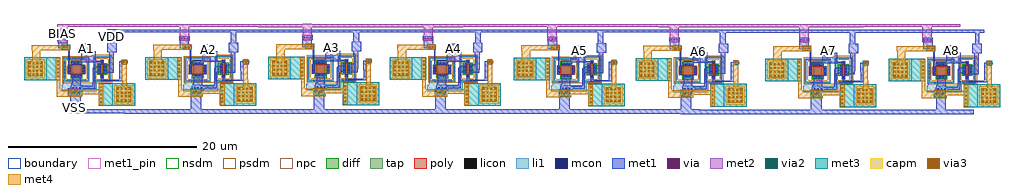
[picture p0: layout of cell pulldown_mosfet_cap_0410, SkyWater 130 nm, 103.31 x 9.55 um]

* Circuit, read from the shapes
.subckt pulldown_mosfet_cap_0410 A1 A2 A3 A4 A5 A6 A7 A8 BIAS VDD VSS
XM1 A1 BIAS VSS VSS sky130_fd_pr__nfet_01v8 w=1 l=1
XM2 VDD A1 VSS VSS sky130_fd_pr__nfet_01v8 w=1 l=0.25
XM3 A2 BIAS VSS VSS sky130_fd_pr__nfet_01v8 w=1 l=1
XM4 VDD A2 VSS VSS sky130_fd_pr__nfet_01v8 w=1 l=0.25
XM5 A3 BIAS VSS VSS sky130_fd_pr__nfet_01v8 w=1 l=1
XM6 VDD A3 VSS VSS sky130_fd_pr__nfet_01v8 w=1 l=0.25
XM7 A4 BIAS VSS VSS sky130_fd_pr__nfet_01v8 w=1 l=1
XM8 VDD A4 VSS VSS sky130_fd_pr__nfet_01v8 w=1 l=0.25
XM9 A5 BIAS VSS VSS sky130_fd_pr__nfet_01v8 w=1 l=1
XM10 VDD A5 VSS VSS sky130_fd_pr__nfet_01v8 w=1 l=0.25
XM11 A6 BIAS VSS VSS sky130_fd_pr__nfet_01v8 w=1 l=1
XM12 VDD A6 VSS VSS sky130_fd_pr__nfet_01v8 w=1 l=0.25
XM13 A7 BIAS VSS VSS sky130_fd_pr__nfet_01v8 w=1 l=1
XM14 VDD A7 VSS VSS sky130_fd_pr__nfet_01v8 w=1 l=0.25
XM15 A8 BIAS VSS VSS sky130_fd_pr__nfet_01v8 w=1 l=1
XM16 VDD A8 VSS VSS sky130_fd_pr__nfet_01v8 w=1 l=0.25
XC17 BIAS VSS sky130_fd_pr__cap_mim_m3_1 w=2 l=2 m=8
XC18 A1 VSS sky130_fd_pr__cap_mim_m3_1 w=2 l=2
XC19 A2 VSS sky130_fd_pr__cap_mim_m3_1 w=2 l=2
XC20 A3 VSS sky130_fd_pr__cap_mim_m3_1 w=2 l=2
XC21 A4 VSS sky130_fd_pr__cap_mim_m3_1 w=2 l=2
XC22 A5 VSS sky130_fd_pr__cap_mim_m3_1 w=2 l=2
XC23 A6 VSS sky130_fd_pr__cap_mim_m3_1 w=2 l=2
XC24 A7 VSS sky130_fd_pr__cap_mim_m3_1 w=2 l=2
XC25 A8 VSS sky130_fd_pr__cap_mim_m3_1 w=2 l=2
.ends

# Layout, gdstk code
from math import pi, radians
import gdstk
lib = gdstk.Library(unit=1e-6, precision=1e-09)
def R(c, l, rs):  # rectangles x0, y0, x1, y1
    for r in rs: c.add(gdstk.rectangle(r[:2], r[2:], *l))
def A(c, l, x, y, w, h, nx, ny, dx, dy):  # array of equal rectangles
    R(c, l, [(x+i*dx, y+j*dy, x+i*dx+w, y+j*dy+h) for i in range(nx) for j in range(ny)])
diff = (65, 20)
tap = (65, 44)
poly = (66, 20)
licon = (66, 44)
li1 = (67, 20)
mcon = (67, 44)
met1_pin = (68, 16)
met1 = (68, 20)
via = (68, 44)
met2 = (69, 20)
via2 = (69, 44)
met3 = (70, 20)
via3 = (70, 44)
met4 = (71, 20)
capm = (89, 44)
nsdm = (93, 44)
psdm = (94, 20)
npc = (95, 20)
boundary = (235, 4)

sky130_fd_pr__cap_mim_m3 = lib.new_cell('sky130_fd_pr__cap_mim_m3_1_A5W7HU')
R(sky130_fd_pr__cap_mim_m3, met3, [(-1.93,-1.2,1.93,1.2)])
A(sky130_fd_pr__cap_mim_m3, via3, 1.57, -0.9, 0.2, 0.2, 1, 5, 0, 0.4)
A(sky130_fd_pr__cap_mim_m3, via3, -1.43, -0.7, 0.2, 0.2, 4, 4, 0.4, 0.4)
R(sky130_fd_pr__cap_mim_m3, met4, [(1.43,-1.14,1.91,1.14), (-1.535,-0.805,0.075,0.805)])
R(sky130_fd_pr__cap_mim_m3, capm, [(-1.73,-1,0.27,1)])
R(sky130_fd_pr__cap_mim_m3, boundary, [(-1.93,-1.2,0.47,1.2)])

sky130_fd_pr__nfet_01v8_ = lib.new_cell('sky130_fd_pr__nfet_01v8_HHPQSU')
R(sky130_fd_pr__nfet_01v8_, diff, [(-0.415,-0.5,0.415,0.5)])
R(sky130_fd_pr__nfet_01v8_, tap, [(-0.925,-1.37,0.925,-1.2), (-0.925,-1.2,-0.755,1.2), (0.755,-1.2,0.925,1.2), (-0.925,1.2,0.925,1.37)])
R(sky130_fd_pr__nfet_01v8_, poly, [(-0.165,-0.94,0.165,-0.61), (-0.125,-0.61,0.125,0.61), (-0.165,0.61,0.165,0.94)])
A(sky130_fd_pr__nfet_01v8_, licon, -0.425, -1.37, 0.17, 0.17, 3, 2, 0.34, 2.57)
A(sky130_fd_pr__nfet_01v8_, licon, -0.925, -0.765, 0.17, 0.17, 1, 5, 0, 0.34)
A(sky130_fd_pr__nfet_01v8_, licon, 0.755, -0.765, 0.17, 0.17, 1, 5, 0, 0.34)
A(sky130_fd_pr__nfet_01v8_, licon, -0.355, -0.425, 0.17, 0.17, 1, 3, 0, 0.34)
A(sky130_fd_pr__nfet_01v8_, licon, 0.185, -0.425, 0.17, 0.17, 1, 3, 0, 0.34)
R(sky130_fd_pr__nfet_01v8_, licon, [(-0.085,-0.86,0.085,-0.69), (-0.085,0.69,0.085,0.86)])
R(sky130_fd_pr__nfet_01v8_, li1, [(-0.925,-1.37,0.925,-1.2), (-0.925,-1.2,-0.755,1.2), (0.755,-1.2,0.925,1.2), (-0.165,-0.86,0.165,-0.69), (-0.355,-0.52,-0.185,0.52), (0.185,-0.52,0.355,0.52), (-0.165,0.69,0.165,0.86), (-0.925,1.2,0.925,1.37)])
R(sky130_fd_pr__nfet_01v8_, mcon, [(-0.085,-0.86,0.085,-0.69), (-0.355,-0.265,-0.185,-0.095), (0.185,-0.265,0.355,-0.095), (-0.355,0.095,-0.185,0.265), (0.185,0.095,0.355,0.265), (-0.085,0.69,0.085,0.86)])
R(sky130_fd_pr__nfet_01v8_, met1, [(-0.145,-0.89,0.145,-0.66), (-0.385,-0.5,-0.155,0.5), (0.155,-0.5,0.385,0.5), (-0.145,0.66,0.145,0.89)])
R(sky130_fd_pr__nfet_01v8_, nsdm, [(-0.54,-0.625,0.54,0.625)])
R(sky130_fd_pr__nfet_01v8_, psdm, [(-1.05,-1.495,1.05,-1.075), (-1.05,-1.075,-0.63,1.075), (0.63,-1.075,1.05,1.075), (-1.05,1.075,1.05,1.495)])
R(sky130_fd_pr__nfet_01v8_, npc, [(-0.185,-0.96,0.185,-0.59), (-0.185,0.59,0.185,0.96)])
R(sky130_fd_pr__nfet_01v8_, boundary, [(-0.84,-1.285,0.84,1.285)])

c_sky130_fd_pr__nfet_01v8_ = lib.new_cell('sky130_fd_pr__nfet_01v8_2B38KW')
R(c_sky130_fd_pr__nfet_01v8_, diff, [(-0.79,-0.5,0.79,0.5)])
R(c_sky130_fd_pr__nfet_01v8_, tap, [(-1.3,-1.37,1.3,-1.2), (-1.3,-1.2,-1.13,1.2), (1.13,-1.2,1.3,1.2), (-1.3,1.2,1.3,1.37)])
R(c_sky130_fd_pr__nfet_01v8_, poly, [(-0.5,-0.94,0.5,0.94)])
A(c_sky130_fd_pr__nfet_01v8_, licon, -0.765, -1.37, 0.17, 0.17, 5, 2, 0.34, 2.57)
A(c_sky130_fd_pr__nfet_01v8_, licon, -1.3, -0.765, 0.17, 0.17, 1, 5, 0, 0.34)
A(c_sky130_fd_pr__nfet_01v8_, licon, 1.13, -0.765, 0.17, 0.17, 1, 5, 0, 0.34)
A(c_sky130_fd_pr__nfet_01v8_, licon, -0.73, -0.425, 0.17, 0.17, 1, 3, 0, 0.34)
A(c_sky130_fd_pr__nfet_01v8_, licon, 0.56, -0.425, 0.17, 0.17, 1, 3, 0, 0.34)
R(c_sky130_fd_pr__nfet_01v8_, licon, [(-0.255,-0.86,-0.085,-0.69), (0.085,-0.86,0.255,-0.69), (-0.255,0.69,-0.085,0.86), (0.085,0.69,0.255,0.86)])
R(c_sky130_fd_pr__nfet_01v8_, li1, [(-1.3,-1.37,1.3,-1.2), (-1.3,-1.2,-1.13,1.2), (1.13,-1.2,1.3,1.2), (-0.5,-0.86,0.5,-0.69), (-0.73,-0.52,-0.56,0.52), (0.56,-0.52,0.73,0.52), (-0.5,0.69,0.5,0.86), (-1.3,1.2,1.3,1.37)])
R(c_sky130_fd_pr__nfet_01v8_, mcon, [(-0.265,-0.86,-0.095,-0.69), (0.095,-0.86,0.265,-0.69), (-0.73,-0.265,-0.56,-0.095), (0.56,-0.265,0.73,-0.095), (-0.73,0.095,-0.56,0.265), (0.56,0.095,0.73,0.265), (-0.265,0.69,-0.095,0.86), (0.095,0.69,0.265,0.86)])
R(c_sky130_fd_pr__nfet_01v8_, met1, [(-0.48,-0.89,0.48,-0.66), (-0.76,-0.5,-0.53,0.5), (0.53,-0.5,0.76,0.5), (-0.48,0.66,0.48,0.89)])
R(c_sky130_fd_pr__nfet_01v8_, nsdm, [(-0.915,-0.625,0.915,0.625)])
R(c_sky130_fd_pr__nfet_01v8_, psdm, [(-1.425,-1.495,1.425,-1.075), (-1.425,-1.075,-1.005,1.075), (1.005,-1.075,1.425,1.075), (-1.425,1.075,1.425,1.495)])
R(c_sky130_fd_pr__nfet_01v8_, npc, [(-0.355,-0.96,0.355,-0.59), (-0.355,0.59,0.355,0.96)])
R(c_sky130_fd_pr__nfet_01v8_, boundary, [(-1.215,-1.285,1.215,1.285)])

transistor_evaluate_cap_ = lib.new_cell('transistor_evaluate_cap_0410')
R(transistor_evaluate_cap_, li1, [(5.83,-3.29,9.53,-3.25), (5.83,-3.25,9.56,-2.61), (6,-2.61,6.96,-2.17), (9.13,-2.61,9.56,-2.09)])
A(transistor_evaluate_cap_, mcon, 6.965, -3.04, 0.17, 0.17, 3, 1, 0.36, 0)
R(transistor_evaluate_cap_, met1_pin, [(7.74,-3.51,7.83,-3.15), (8.43,-0.07,9.43,0.93), (10.66,0.84,11.66,1.84), (5.45,1.26,6.45,2.26)])
R(transistor_evaluate_cap_, met1, [(6.6,-3.74,7.79,-3.51), (6.6,-3.51,7.83,-3.18), (6.6,-3.18,8.05,-3.08), (6.77,-3.08,8.05,-3.01), (6.77,-3.01,9.38,-2.75), (6.77,-2.75,8.05,-2.73), (9.11,-2.75,9.38,-1.29), (6.83,-2.73,7.84,-2.51), (6.95,-2.51,7.84,-1.59), (10.02,-2.23,10.25,-2.22), (10.02,-2.22,12.22,-2.21), (10.02,-2.21,12.23,-2.08), (10.02,-2.08,10.25,-1.84), (11.92,-2.08,12.23,-1.11), (9.96,-1.84,10.27,-1.57), (6.54,-1.41,6.68,1.11), (10.32,-1.35,11.33,-0.98), (9.11,-1.29,9.82,-0.82), (11.9,-1.11,12.23,-0.78), (10.32,-0.98,11.35,-0.49), (9.26,-0.82,9.82,-0.68), (11.9,-0.78,12.22,-0.43), (10.88,-0.49,11.35,0.35), (11.9,-0.43,12.76,-0.28), (6.86,-0.39,7.81,-0.34), (6.86,-0.34,8.02,-0.2), (9.96,-0.29,10.27,-0.2), (11.9,-0.28,12.81,-0.14), (6.86,-0.2,10.27,-0.07), (11.92,-0.14,12.81,-0.13), (6.94,-0.07,10.27,-0.06), (6.94,-0.06,9.43,-0.05), (9.96,-0.06,10.27,-0.02), (7.88,-0.05,9.43,0.93), (10.85,0.35,11.35,0.84), (10.66,0.84,11.66,1.84), (5.77,1.11,6.72,1.26), (5.45,1.26,6.72,1.6), (5.45,1.6,6.45,2.26)])
A(transistor_evaluate_cap_, via, 6.8, -3.645, 0.15, 0.15, 3, 2, 0.32, 0.32)
R(transistor_evaluate_cap_, via, [(12.385,-0.37,12.535,-0.22), (6.01,1.28,6.16,1.43), (6.33,1.28,6.48,1.43)])
R(transistor_evaluate_cap_, met2, [(6.65,-3.79,7.74,-3.03), (12.21,-0.48,12.71,-0.41), (12.21,-0.41,12.72,0.06), (5.82,1.06,6.67,1.65)])
A(transistor_evaluate_cap_, via2, 6.695, -3.51, 0.2, 0.2, 3, 1, 0.4, 0)
R(transistor_evaluate_cap_, via2, [(12.365,-0.275,12.565,-0.075), (5.945,1.255,6.145,1.455), (6.345,1.255,6.545,1.455)])
R(transistor_evaluate_cap_, met3, [(6.6,-3.765,7.79,-3.055), (12.16,-0.385,12.77,0.035), (5.77,1.085,6.72,1.625)])
R(transistor_evaluate_cap_, via3, [(6.895,-3.51,7.095,-3.31), (7.295,-3.51,7.495,-3.31), (12.365,-0.275,12.565,-0.075), (5.945,1.255,6.145,1.455), (6.345,1.255,6.545,1.455)])
R(transistor_evaluate_cap_, met4, [(5.31,-3.89,7.93,-3.59), (5.31,-3.59,10.17,-3.12), (12.22,-3.59,12.71,-2.09), (5.31,-3.12,5.68,-1.14), (6.645,-3.12,10.17,-3.1), (6.645,-3.1,7.745,-3.075), (12.21,-2.09,12.71,-2.08), (12.21,-2.08,12.7,-0.365), (2.7,-1.35,3.58,1.07), (12.205,-0.365,12.725,0.015), (2.66,1.07,6.64,1.105), (2.66,1.105,6.675,1.6), (5.815,1.6,6.675,1.605)])
R(transistor_evaluate_cap_, psdm, [(8.885,-2.425,9.065,0.415)])
transistor_evaluate_cap_.add(gdstk.Reference(sky130_fd_pr__cap_mim_m3, (3.77,-0.91)))
transistor_evaluate_cap_.add(gdstk.Reference(sky130_fd_pr__cap_mim_m3, (11.66,-3.64), rotation=pi, x_reflection=True))
transistor_evaluate_cap_.add(gdstk.Reference(sky130_fd_pr__nfet_01v8_, (10.115,-0.93)))
transistor_evaluate_cap_.add(gdstk.Reference(c_sky130_fd_pr__nfet_01v8_, (7.39,-1.01), rotation=3*pi/2))
transistor_evaluate_cap_.add(gdstk.Label('VDD', (11.16,1.34), layer=68, texttype=5))
transistor_evaluate_cap_.add(gdstk.Label('BIAS', (5.95,1.76), layer=68, texttype=5))
transistor_evaluate_cap_.add(gdstk.Label('A1', (8.93,0.43), layer=68, texttype=5))
transistor_evaluate_cap_.add(gdstk.Label('VSS', (7.785,-3.33), layer=68, texttype=5))

pulldown_mosfet_cap_0410 = lib.new_cell('pulldown_mosfet_cap_0410')
R(pulldown_mosfet_cap_0410, met1_pin, [(4.97,-20.7,5.97,-19.7), (70.98,-14.74,71.98,-13.74), (84.71,-14.7,85.71,-13.7), (58.34,-14.64,59.34,-13.64), (97.8,-14.62,98.8,-13.62), (19.12,-14.5,20.12,-13.5), (45.01,-14.45,46.01,-13.45), (6.21,-14.4,7.21,-13.4), (32.13,-14.39,33.13,-13.39), (8.88,-13.16,9.88,-12.16), (3.63,-12.84,4.63,-11.84)])
R(pulldown_mosfet_cap_0410, met1, [(69.62,-20.89,100.63,-20.85), (10.73,-20.85,100.63,-20.82), (4.98,-20.82,100.63,-20.7), (4.97,-20.7,100.63,-20.44), (4.97,-20.44,71.57,-20.4), (83.39,-20.44,84.51,-18.54), (96.67,-20.44,97.64,-18.29), (4.97,-20.4,11.79,-20.39), (17.74,-20.4,18.86,-18.46), (30.75,-20.4,31.87,-18.56), (43.61,-20.4,44.73,-18.49), (56.74,-20.4,57.86,-18.48), (69.61,-20.4,70.73,-18.44), (4.97,-20.39,6.11,-19.7), (4.99,-19.7,6.11,-18.98), (4.74,-18.98,6.28,-18.16), (70.98,-14.74,71.98,-13.74), (84.71,-14.7,85.71,-13.7), (58.34,-14.64,59.34,-13.64), (97.8,-14.62,98.8,-13.62), (19.12,-14.5,20.12,-13.5), (45.01,-14.45,46.01,-13.45), (6.21,-14.4,7.21,-13.4), (32.13,-14.39,33.13,-13.39), (87.49,-13.96,88.1,-12.26), (34.95,-13.94,35.56,-12.22), (21.95,-13.92,22.56,-12.22), (60.81,-13.9,61.42,-12.24), (73.75,-13.9,74.36,-12.26), (8.89,-13.86,9.87,-13.16), (47.83,-13.81,48.44,-12.24), (100.78,-13.79,101.2,-12.26), (82.13,-13.25,83.23,-12.8), (95.16,-13.25,96.26,-12.8), (68.4,-13.24,69.5,-12.79), (3.62,-13.2,4.74,-12.73), (8.88,-13.16,9.88,-12.2), (55.46,-13.15,56.56,-12.7), (16.51,-13.1,17.61,-12.65), (42.3,-13.09,43.4,-12.64), (29.53,-13,30.63,-12.55), (3.63,-12.73,4.71,-12.17), (73.75,-12.26,101.75,-12.24), (38.94,-12.24,101.75,-12.22), (21.95,-12.22,101.75,-12.2), (8.88,-12.2,101.75,-12.16), (3.63,-12.17,4.63,-11.84), (8.89,-12.16,101.75,-11.97), (8.89,-11.97,22.69,-11.95), (38.94,-11.97,56.8,-11.95), (74,-11.97,101.75,-11.96), (8.89,-11.95,9.87,-11.92)])
A(pulldown_mosfet_cap_0410, via, 82.285, -13.1, 0.15, 0.15, 3, 1, 0.32, 0)
A(pulldown_mosfet_cap_0410, via, 95.315, -13.1, 0.15, 0.15, 3, 1, 0.32, 0)
A(pulldown_mosfet_cap_0410, via, 68.555, -13.09, 0.15, 0.15, 3, 1, 0.32, 0)
A(pulldown_mosfet_cap_0410, via, 3.785, -13.04, 0.15, 0.15, 3, 1, 0.32, 0)
A(pulldown_mosfet_cap_0410, via, 55.615, -13, 0.15, 0.15, 3, 1, 0.32, 0)
A(pulldown_mosfet_cap_0410, via, 16.665, -12.95, 0.15, 0.15, 3, 1, 0.32, 0)
A(pulldown_mosfet_cap_0410, via, 42.455, -12.94, 0.15, 0.15, 3, 1, 0.32, 0)
A(pulldown_mosfet_cap_0410, via, 29.685, -12.85, 0.15, 0.15, 3, 1, 0.32, 0)
R(pulldown_mosfet_cap_0410, met2, [(3.67,-13.39,4.69,-11.64), (82.18,-13.3,83.18,-12.92), (95.21,-13.3,96.21,-12.92), (68.45,-13.29,69.45,-13.06), (55.51,-13.2,56.51,-12.87), (16.56,-13.15,17.56,-12.6), (42.35,-13.14,43.35,-12.84), (68.44,-13.06,69.45,-12.74), (29.58,-13.05,30.58,-12.5), (82.17,-12.92,83.18,-12.75), (95.18,-12.92,96.21,-12.75), (55.5,-12.87,56.51,-12.65), (42.35,-12.84,43.36,-12.59), (82.17,-12.75,83.14,-11.67), (95.18,-12.75,96.15,-11.66), (68.44,-12.74,69.41,-11.67), (55.5,-12.65,56.47,-11.66), (16.59,-12.6,17.56,-11.64), (42.39,-12.59,43.36,-11.67), (29.58,-12.5,30.55,-11.67), (24.89,-11.67,46.54,-11.66), (67.29,-11.67,88.94,-11.66), (24.89,-11.66,99.19,-11.64), (3.63,-11.64,99.19,-11.4), (3.63,-11.4,25.28,-11.37), (29.58,-11.4,30.55,-11.34), (46.07,-11.4,67.72,-11.39), (3.67,-11.37,4.69,-11.36)])
pulldown_mosfet_cap_0410.add(gdstk.Reference(transistor_evaluate_cap_, (-1.75,-15.18)))
pulldown_mosfet_cap_0410.add(gdstk.Reference(transistor_evaluate_cap_, (11.1,-15.16)))
pulldown_mosfet_cap_0410.add(gdstk.Reference(transistor_evaluate_cap_, (24.11,-15.09)))
pulldown_mosfet_cap_0410.add(gdstk.Reference(transistor_evaluate_cap_, (36.96,-15.16)))
pulldown_mosfet_cap_0410.add(gdstk.Reference(transistor_evaluate_cap_, (50.08,-15.21)))
pulldown_mosfet_cap_0410.add(gdstk.Reference(transistor_evaluate_cap_, (62.98,-15.26)))
pulldown_mosfet_cap_0410.add(gdstk.Reference(transistor_evaluate_cap_, (76.72,-15.3)))
pulldown_mosfet_cap_0410.add(gdstk.Reference(transistor_evaluate_cap_, (89.81,-15.3)))
pulldown_mosfet_cap_0410.add(gdstk.Label('A6', (71.48,-14.24), layer=68, texttype=5))
pulldown_mosfet_cap_0410.add(gdstk.Label('A7', (85.21,-14.2), layer=68, texttype=5))
pulldown_mosfet_cap_0410.add(gdstk.Label('BIAS', (4.13,-12.34), layer=68, texttype=5))
pulldown_mosfet_cap_0410.add(gdstk.Label('A4', (45.51,-13.95), layer=68, texttype=5))
pulldown_mosfet_cap_0410.add(gdstk.Label('VSS', (5.47,-20.2), layer=68, texttype=5))
pulldown_mosfet_cap_0410.add(gdstk.Label('A8', (98.3,-14.12), layer=68, texttype=5))
pulldown_mosfet_cap_0410.add(gdstk.Label('A5', (58.84,-14.14), layer=68, texttype=5))
pulldown_mosfet_cap_0410.add(gdstk.Label('A1', (6.71,-13.9), layer=68, texttype=5))
pulldown_mosfet_cap_0410.add(gdstk.Label('VDD', (9.38,-12.66), layer=68, texttype=5))
pulldown_mosfet_cap_0410.add(gdstk.Label('A3', (32.63,-13.89), layer=68, texttype=5))
pulldown_mosfet_cap_0410.add(gdstk.Label('A2', (19.62,-14), layer=68, texttype=5))

lib.write_gds('pulldown_mosfet_cap_0410.gds')
